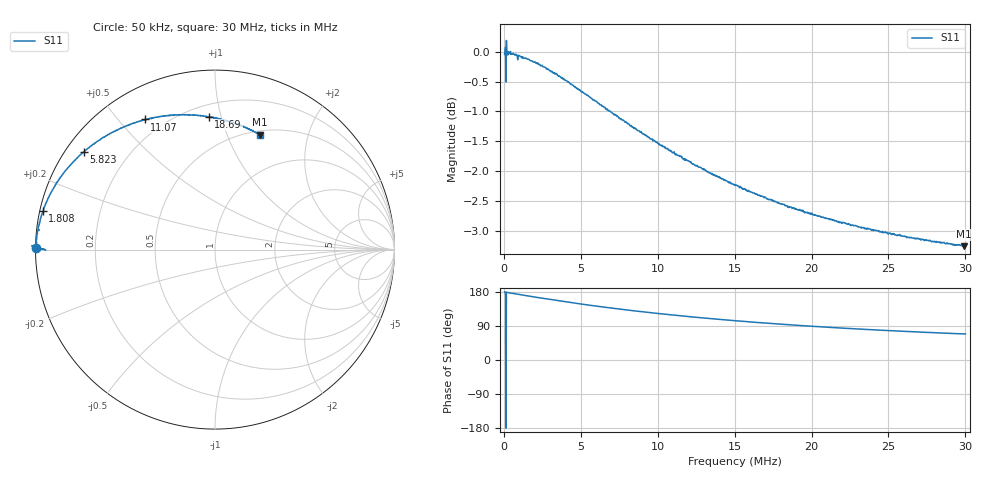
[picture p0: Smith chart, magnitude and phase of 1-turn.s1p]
# HZ S RI R 50
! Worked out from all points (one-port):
!   1023 points, 50 kHz to 30 MHz, reference 50 ohm
!   lowest |S11| = -3.3 dB at 29.88 MHz (marker M1), VSWR 5.39, Z = 27.1 + j65.6 ohm
!   |S11| at or under -10 dB: nowhere
!   S11 on the Smith chart (normalised r, x): 50 kHz: 0.00, +0.00; 1.808 MHz: 0.01, +0.11; 5.823 MHz: 0.05, +0.33; 11.07 MHz: 0.13, +0.59; 18.69 MHz: 0.28, +0.91; 30 MHz: 0.54, +1.32
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50000  -0.9945 0.00736
284440  -0.9983 0.0348
313745  -0.9991 0.0401
724015  -0.9892 0.0901
1808300  -0.959 0.2145
2804670  -0.9152 0.316
3801040  -0.8606 0.4041
4797410  -0.7973 0.4794
5823085  -0.7312 0.5442
6585015  -0.6795 0.587
7552080  -0.6134 0.629
8255400  -0.5669 0.6552
9339685  -0.4964 0.6884
1.054119e7  -0.4221 0.7143
1.106868e7  -0.3917 0.7253
1.130312e7  -0.3776 0.7263
1.29149e7  -0.2875 0.7438
1.502486e7  -0.1823 0.751
1.651941e7  -0.118 0.7487
1.868798e7  -0.0343 0.7397
1.87759e7  -0.0306 0.7395
2.076864e7  0.0358 0.725
2.252694e7  0.0876 0.7105
2.422662e7  0.1324 0.6955
2.627798e7  0.1799 0.6754
2.742087e7  0.2035 0.6648
2.988249e7  0.248 0.6406
2.999971e7  0.2492 0.6407
